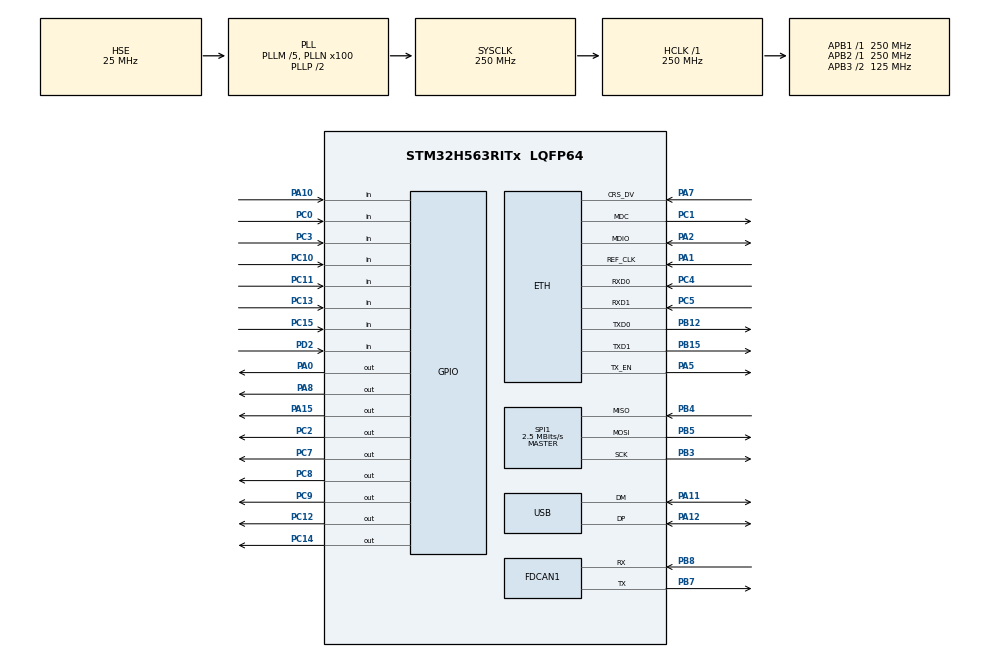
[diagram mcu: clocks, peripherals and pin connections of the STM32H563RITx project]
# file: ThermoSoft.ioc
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BOOTPATH.BootPathName=LEGACY
BOOTPATH.UserSelectedBootPath=LEGACY
CORTEX_M33_NS.userName=CORTEX_M33
ETH.MediaInterface=HAL_ETH_RMII_MODE
FDCAN1.CalculateBaudRateNominal=1666666
FDCAN1.CalculateTimeBitNominal=600
FDCAN1.CalculateTimeQuantumNominal=200.0
Mcu.Family=STM32H5
Mcu.Name=STM32H563RITx
Mcu.Package=LQFP64
NVIC.PriorityGroup=NVIC_PRIORITYGROUP_4
PA0.Signal=GPIO_Output
PA1.Mode=RMII
PA1.Signal=ETH_REF_CLK
PA10.Signal=GPIO_Input
PA11.Mode=Device
PA11.Signal=USB_DM
PA12.Mode=Device
PA12.Signal=USB_DP
PA13(JTMS/SWDIO).Mode=Serial_Wire
PA13(JTMS/SWDIO).Signal=DEBUG_JTMS-SWDIO
PA14(JTCK/SWCLK).Mode=Serial_Wire
PA14(JTCK/SWCLK).Signal=DEBUG_JTCK-SWCLK
PA15(JTDI).Signal=GPIO_Output
PA2.Mode=RMII
PA2.Signal=ETH_MDIO
PA5.Mode=RMII
PA5.Signal=ETH_TX_EN
PA7.Mode=RMII
PA7.Signal=ETH_CRS_DV
PA8.Signal=GPIO_Output
PB12.Mode=RMII
PB12.Signal=ETH_TXD0
PB15.Mode=RMII
PB15.Signal=ETH_TXD1
PB3(JTDO/TRACESWO).Mode=Full_Duplex_Master
PB3(JTDO/TRACESWO).Signal=SPI1_SCK
PB4(NJTRST).Mode=Full_Duplex_Master
PB4(NJTRST).Signal=SPI1_MISO
PB5.Mode=Full_Duplex_Master
PB5.Signal=SPI1_MOSI
PB7.Mode=FDCAN_Activate
PB7.Signal=FDCAN1_TX
PB8.Mode=FDCAN_Activate
PB8.Signal=FDCAN1_RX
PC0.Signal=GPIO_Input
PC1.Mode=RMII
PC1.Signal=ETH_MDC
PC10.Signal=GPIO_Input
PC11.Signal=GPIO_Input
PC12.Signal=GPIO_Output
PC13.Signal=GPIO_Input
PC14-OSC32_IN(OSC32_IN).Signal=GPIO_Output
PC15-OSC32_OUT(OSC32_OUT).Signal=GPIO_Input
PC2.Signal=GPIO_Output
PC3.Signal=GPIO_Input
PC4.Mode=RMII
PC4.Signal=ETH_RXD0
PC5.Mode=RMII
PC5.Signal=ETH_RXD1
PC7.Signal=GPIO_Output
PC8.Signal=GPIO_Output
PC9.Signal=GPIO_Output
PD2.Signal=GPIO_Input
PH0-OSC_IN(PH0).Mode=HSE-External-Oscillator
PH0-OSC_IN(PH0).Signal=RCC_OSC_IN
PH1-OSC_OUT(PH1).Mode=HSE-External-Oscillator
PH1-OSC_OUT(PH1).Signal=RCC_OSC_OUT
ProjectManager.HeapSize=0x200
ProjectManager.StackSize=0x400
ProjectManager.TargetToolchain=CMake
RCC.ADCFreq_Value=250000000
RCC.AHBFreq_Value=250000000
RCC.APB1Freq_Value=250000000
RCC.APB1TimFreq_Value=250000000
RCC.APB2Freq_Value=250000000
RCC.APB2TimFreq_Value=250000000
RCC.APB3CLKDivider=RCC_HCLK_DIV2
RCC.APB3Freq_Value=125000000
RCC.CSI_VALUE=4000000
RCC.CortexFreq_Value=250000000
RCC.EPOD_VALUE=25000000
RCC.FDCANClockSelection=RCC_FDCANCLKSOURCE_PLL2Q
RCC.HCLKFreq_Value=250000000
RCC.HSE_VALUE=25000000
RCC.HSI48_VALUE=48000000
RCC.HSI_VALUE=64000000
RCC.LSE_VALUE=32768
RCC.LSIRC_VALUE=32000
RCC.PLL1Q=10
RCC.PLL2FRACN=0
RCC.PLL2M=5
RCC.PLL2N=80
RCC.PLL2P=80
RCC.PLL2Q=5
RCC.PLL2Source=RCC_PLL2_SOURCE_HSE
RCC.PLL3FRACN=0
RCC.PLL3M=5
RCC.PLL3N=48
RCC.PLL3P=5
RCC.PLL3Q=5
RCC.PLL3Source=RCC_PLL3_SOURCE_HSE
RCC.PLLFRACN=0
RCC.PLLM=5
RCC.PLLN=100
RCC.PLLSourceVirtual=RCC_PLL1_SOURCE_HSE
RCC.SPI1CLockSelection=RCC_SPI1CLKSOURCE_PLL2P
RCC.SYSCLKFreq_VALUE=250000000
RCC.SYSCLKSource=RCC_SYSCLKSOURCE_PLLCLK
RCC.USBCLockSelection=RCC_USBCLKSOURCE_PLL3Q
RCC.USBFreq_Value=48000000
RCC.VCOOutputFreq_Value=500000000
SPI1.BaudRatePrescaler=SPI_BAUDRATEPRESCALER_2
SPI1.CalculateBaudRate=2.5 MBits/s
SPI1.Direction=SPI_DIRECTION_2LINES
SPI1.Mode=SPI_MODE_MASTER
SPI1.VirtualType=VM_MASTER
USB.VirtualMode=Device_Only
VP_BOOTPATH_VS_BOOTPATH.Mode=BP_Activate
VP_CORTEX_M33_NS_VS_Hclk.Mode=Hclk_Mode
VP_DCACHE1_VS_DCACHE.Mode=DCACHE_Activate
VP_FMAC_VS_FMAC.Mode=FMAC_Activate
VP_ICACHE_VS_ICACHE.Mode=DirectMappedCache
VP_MEMORYMAP_VS_MEMORYMAP.Mode=CurAppReg
VP_PWR_VS_LPOM.Mode=PowerOptimisation
VP_PWR_VS_SECSignals.Mode=Security/Privilege
board=custom

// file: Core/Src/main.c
/* USER CODE BEGIN Header */
/**
 ******************************************************************************
 * @file           : main.c
 * @brief          : Main program body
 ******************************************************************************
 * @attention
 *
 * Copyright (c) 2025 STMicroelectronics.
 * All rights reserved.
 *
 * This software is licensed under terms that can be found in the LICENSE file
 * in the root directory of this software component.
 * If no LICENSE file comes with this software, it is provided AS-IS.
 *
 ******************************************************************************
 */
/* USER CODE END Header */
#include "main.h"
#include "stm32h5xx_hal.h"
#include "string.h"

/* USER CODE BEGIN Includes */
#include "ethernetif.h"
#include "lwip.h"
#include "lwip/init.h"
#include "lwip/netif.h"
#include "lwip/opt.h"
#include "lwip/timeouts.h"
#include "lwip/udp.h"
#include "max31856.h"
#include "netif/etharp.h"

#if LWIP_DHCP
#include "lwip/dhcp.h"
#endif
/* USER CODE END Includes */

ETH_TxPacketConfigTypeDef TxConfig;
ETH_DMADescTypeDef DMARxDscrTab[ETH_RX_DESC_CNT]; /* Ethernet Rx DMA Descriptors */
ETH_DMADescTypeDef DMATxDscrTab[ETH_TX_DESC_CNT]; /* Ethernet Tx DMA Descriptors */

DCACHE_HandleTypeDef hdcache1;

ETH_HandleTypeDef heth;

FDCAN_HandleTypeDef hfdcan1;

FMAC_HandleTypeDef hfmac;

SPI_HandleTypeDef hspi1;

PCD_HandleTypeDef hpcd_USB_DRD_FS;

/* USER CODE BEGIN PV */
extern struct netif gnetif;

// MAX31856 sensor instances
max31856_t therm1, therm2, therm3, therm4;
struct udp_pcb *udp_tx_pcb;
sensor_data_packet_t sensor_packet;
uint8_t batch_index = 0; // Current index in the batch (0 to BATCH_SIZE-1)

/* USER CODE END PV */

void SystemClock_Config(void);
void PeriphCommonClock_Config(void);
static void MX_GPIO_Init(void);
static void MX_FDCAN1_Init(void);
static void MX_USB_PCD_Init(void);
static void MX_SPI1_Init(void);
static void MX_ICACHE_Init(void);
static void MX_DCACHE1_Init(void);
static void MX_FMAC_Init(void);
/* USER CODE BEGIN PFP */
static void Netif_Config(void);
/* USER CODE END PFP */

/* USER CODE BEGIN 0 */

static void Init_MAX31856_Sensors(void)
{
  // Initialize Sensor 1
  therm1.spi_handle = &hspi1;
  therm1.cs_pin.gpio_port = CS1_Port;
  therm1.cs_pin.gpio_pin = CS1_Pin;
  therm1.fault_pin.gpio_port = NFAULT1_Port;
  therm1.fault_pin.gpio_pin = NFAULT1_Pin;
  therm1.drdy_pin.gpio_port = NDRDY1_Port;
  therm1.drdy_pin.gpio_pin = NDRDY1_Pin;
  max31856_init(&therm1);
  max31856_set_noise_filter(&therm1, MAX31856_NOISE_FILTER);
  max31856_set_cold_junction_enable(&therm1, MAX31856_CJ_ENABLE);
  max31856_set_thermocouple_type(&therm1, MAX31856_TC_TYPE);
  max31856_set_average_samples(&therm1, MAX31856_AVG_SAMPLES);
  max31856_set_open_circuit_fault_detection(&therm1, MAX31856_OC_FAULT_DETECT);
  max31856_set_conversion_mode(&therm1, MAX31856_CONVERSION_MODE);

  // Initialize Sensor 2
  therm2.spi_handle = &hspi1;
  therm2.cs_pin.gpio_port = CS2_Port;
  therm2.cs_pin.gpio_pin = CS2_Pin;
  therm2.fault_pin.gpio_port = NFAULT2_Port;
  therm2.fault_pin.gpio_pin = NFAULT2_Pin;
  therm2.drdy_pin.gpio_port = NDRDY2_Port;
  therm2.drdy_pin.gpio_pin = NDRDY2_Pin;
  max31856_init(&therm2);
  max31856_set_noise_filter(&therm2, MAX31856_NOISE_FILTER);
  max31856_set_cold_junction_enable(&therm2, MAX31856_CJ_ENABLE);
  max31856_set_thermocouple_type(&therm2, MAX31856_TC_TYPE);
  max31856_set_average_samples(&therm2, MAX31856_AVG_SAMPLES);
  max31856_set_open_circuit_fault_detection(&therm2, MAX31856_OC_FAULT_DETECT);
  max31856_set_conversion_mode(&therm2, MAX31856_CONVERSION_MODE);

  // Initialize Sensor 3
  therm3.spi_handle = &hspi1;
  therm3.cs_pin.gpio_port = CS3_Port;
  therm3.cs_pin.gpio_pin = CS3_Pin;
  therm3.fault_pin.gpio_port = NFAULT3_Port;
  therm3.fault_pin.gpio_pin = NFAULT3_Pin;
  therm3.drdy_pin.gpio_port = NDRDY3_Port;
  therm3.drdy_pin.gpio_pin = NDRDY3_Pin;
  max31856_init(&therm3);
  max31856_set_noise_filter(&therm3, MAX31856_NOISE_FILTER);
  max31856_set_cold_junction_enable(&therm3, MAX31856_CJ_ENABLE);
  max31856_set_thermocouple_type(&therm3, MAX31856_TC_TYPE);
  max31856_set_average_samples(&therm3, MAX31856_AVG_SAMPLES);
  max31856_set_open_circuit_fault_detection(&therm3, MAX31856_OC_FAULT_DETECT);
  max31856_set_conversion_mode(&therm3, MAX31856_CONVERSION_MODE);

  // Initialize Sensor 4
  therm4.spi_handle = &hspi1;
  therm4.cs_pin.gpio_port = CS4_Port;
  therm4.cs_pin.gpio_pin = CS4_Pin;
  therm4.fault_pin.gpio_port = NFAULT4_Port;
  therm4.fault_pin.gpio_pin = NFAULT4_Pin;
  therm4.drdy_pin.gpio_port = NDRDY4_Port;
  therm4.drdy_pin.gpio_pin = NDRDY4_Pin;
  max31856_init(&therm4);
  max31856_set_noise_filter(&therm4, MAX31856_NOISE_FILTER);
  max31856_set_cold_junction_enable(&therm4, MAX31856_CJ_ENABLE);
  max31856_set_thermocouple_type(&therm4, MAX31856_TC_TYPE);
  max31856_set_average_samples(&therm4, MAX31856_AVG_SAMPLES);
  max31856_set_open_circuit_fault_detection(&therm4, MAX31856_OC_FAULT_DETECT);
  max31856_set_conversion_mode(&therm4, MAX31856_CONVERSION_MODE);
}

static void Init_UDP_Socket(void)
{
  ip_addr_t dest_addr;

  // Create new UDP PCB
  udp_tx_pcb = udp_new();
  if (udp_tx_pcb == NULL) {
    // Handle error
    return;
  }

  // Bind to any local address and port
  err_t err = udp_bind(udp_tx_pcb, IP_ADDR_ANY, 0);
  if (err != ERR_OK) {
    udp_remove(udp_tx_pcb);
    return;
  }

  // Set destination address and port
  IP4_ADDR(&dest_addr, UDP_DEST_IP_ADDR0, UDP_DEST_IP_ADDR1, UDP_DEST_IP_ADDR2, UDP_DEST_IP_ADDR3);
  err = udp_connect(udp_tx_pcb, &dest_addr, UDP_DEST_PORT);
  if (err != ERR_OK) {
    udp_remove(udp_tx_pcb);
    return;
  }
}

static void Read_MAX31856_Sensor(max31856_t *sensor, int32_t *temp_value)
{
  // Check if data is ready (DRDY pin is active low)
  if (HAL_GPIO_ReadPin(sensor->drdy_pin.gpio_port, sensor->drdy_pin.gpio_pin) != GPIO_PIN_RESET) {
    // Data not ready - return previous value or 0.0
    *temp_value = 0;
    return;
  }

  // Check for faults
  max31856_read_fault(sensor);

  if (sensor->sr.val != 0) {
    // Fault detected - send 0.0
    *temp_value = 0.0f;

    // Clear fault for next reading
    max31856_clear_fault_status(sensor);
    return;
  }

  // No fault - read thermocouple temperature
  *temp_value = max31856_read_TC_temp(sensor);
}

static void Send_Sensor_Data_UDP(void)
{
  struct pbuf *p;

  // Turn on LED to indicate data send
  HAL_GPIO_WritePin(DATA_SEND_GPIO_Port, DATA_SEND_GPIO_Pin, GPIO_PIN_SET);

  // Set packet tag and timestamp
  sensor_packet.packetTag = PACKET_ID;
  sensor_packet.packetTime = HAL_GetTick();

  // Allocate pbuf for data
  p = pbuf_alloc(PBUF_TRANSPORT, sizeof(sensor_data_packet_t), PBUF_RAM);
  if (p == NULL) {
    HAL_GPIO_WritePin(DATA_SEND_GPIO_Port, DATA_SEND_GPIO_Pin, GPIO_PIN_RESET);
    return;
  }

  // Copy data to pbuf
  memcpy(p->payload, &sensor_packet, sizeof(sensor_data_packet_t));

  // Send the data
  err_t err = udp_send(udp_tx_pcb, p);

  // Free the pbuf
  pbuf_free(p);

  if (err != ERR_OK) {
    // Handle send error - turn on fail LED
    HAL_GPIO_WritePin(DATA_FAIL_GPIO_Port, DATA_FAIL_GPIO_Pin, GPIO_PIN_SET);
  } else {
    // Success - turn off fail LED
    HAL_GPIO_WritePin(DATA_FAIL_GPIO_Port, DATA_FAIL_GPIO_Pin, GPIO_PIN_RESET);
  }

  // Turn off LED after send
  HAL_GPIO_WritePin(DATA_SEND_GPIO_Port, DATA_SEND_GPIO_Pin, GPIO_PIN_RESET);

  // Reset batch index for next packet
  batch_index = 0;
}

/* USER CODE END 0 */

int main(void)
{

  /* MCU Configuration--------------------------------------------------------*/

  /* Reset of all peripherals, Initializes the Flash interface and the Systick. */
  HAL_Init();

  /* Configure the system clock */
  SystemClock_Config();

  /* Configure the peripherals common clocks */
  PeriphCommonClock_Config();

  /* Initialize all configured peripherals */
  MX_GPIO_Init();
  MX_FDCAN1_Init();
  MX_USB_PCD_Init();
  MX_SPI1_Init();
  MX_ICACHE_Init();
  MX_DCACHE1_Init();
  MX_FMAC_Init();
  /* USER CODE BEGIN 2 */

  // Reset PHY (nRST) - MUST be done BEFORE lwip_init
  // LAN8742 nRST is active LOW
  HAL_GPIO_WritePin(ETH_PHY_RESET_Port, ETH_PHY_RESET_Pin, GPIO_PIN_RESET); // Assert reset (LOW)
  HAL_Delay(100);  // Hold reset for 100ms
  HAL_GPIO_WritePin(ETH_PHY_RESET_Port, ETH_PHY_RESET_Pin, GPIO_PIN_SET);   // Release reset (HIGH)
  HAL_Delay(100);  // Wait for PHY to stabilize

  lwip_init();
  Netif_Config();
  // Initialize MAX31856 sensors
  Init_MAX31856_Sensors();

  ethernetif_input(&gnetif);
  sys_check_timeouts();

  // Initialize UDP socket
  Init_UDP_Socket();

  uint32_t last_send_time = HAL_GetTick();

  /* USER CODE END 2 */

  /* Infinite loop */
  /* USER CODE BEGIN WHILE */
  while (1) {
    /* Read a received packet from the Ethernet buffers and send it
      to the lwIP for handling */
    ethernetif_input(&gnetif);
    /* Handle timeouts */
    sys_check_timeouts();
#if LWIP_NETIF_LINK_CALLBACK
    Ethernet_Link_Periodic_Handle(&gnetif);
#endif
#if LWIP_DHCP
    DHCP_Periodic_Handle(&gnetif);
#endif

    // Collect sensor readings at configured interval
    if ((HAL_GetTick() - last_send_time) >= UDP_SEND_INTERVAL_MS) {
      if (netif_is_up(&gnetif)) {
        // Read all sensors and store in current batch position
        // Use temporary variables to avoid taking address of packed members
        int32_t temp1, temp2, temp3, temp4;
        Read_MAX31856_Sensor(&therm1, &temp1);
        Read_MAX31856_Sensor(&therm2, &temp2);
        Read_MAX31856_Sensor(&therm3, &temp3);
        Read_MAX31856_Sensor(&therm4, &temp4);

        sensor_packet.tc1_temps[batch_index] = temp1;
        sensor_packet.tc2_temps[batch_index] = temp2;
        sensor_packet.tc3_temps[batch_index] = temp3;
        sensor_packet.tc4_temps[batch_index] = temp4;

        batch_index++;

        // When batch is full, send the packet
        if (batch_index >= BATCH_SIZE) {
          Send_Sensor_Data_UDP();
        }
      }
      last_send_time = HAL_GetTick();
    }

    /* USER CODE END WHILE */

  }
}

void SystemClock_Config(void)
{
  RCC_OscInitTypeDef RCC_OscInitStruct = {0};
  RCC_ClkInitTypeDef RCC_ClkInitStruct = {0};

  /** Configure the main internal regulator output voltage
   */
  __HAL_PWR_VOLTAGESCALING_CONFIG(PWR_REGULATOR_VOLTAGE_SCALE0);

  while (!__HAL_PWR_GET_FLAG(PWR_FLAG_VOSRDY)) {
  }

  /** Initializes the RCC Oscillators according to the specified parameters
   * in the RCC_OscInitTypeDef structure.
   */
  RCC_OscInitStruct.OscillatorType = RCC_OSCILLATORTYPE_HSE;
  RCC_OscInitStruct.HSEState = RCC_HSE_ON;
  RCC_OscInitStruct.PLL.PLLState = RCC_PLL_ON;
  RCC_OscInitStruct.PLL.PLLSource = RCC_PLL1_SOURCE_HSE;
  RCC_OscInitStruct.PLL.PLLM = 5;
  RCC_OscInitStruct.PLL.PLLN = 100;
  RCC_OscInitStruct.PLL.PLLP = 2;
  RCC_OscInitStruct.PLL.PLLQ = 10;
  RCC_OscInitStruct.PLL.PLLR = 2;
  RCC_OscInitStruct.PLL.PLLRGE = RCC_PLL1_VCIRANGE_2;
  RCC_OscInitStruct.PLL.PLLVCOSEL = RCC_PLL1_VCORANGE_WIDE;
  RCC_OscInitStruct.PLL.PLLFRACN = 0;
  if (HAL_RCC_OscConfig(&RCC_OscInitStruct) != HAL_OK) {
    Error_Handler();
  }

  /** Initializes the CPU, AHB and APB buses clocks
   */
  RCC_ClkInitStruct.ClockType = RCC_CLOCKTYPE_HCLK | RCC_CLOCKTYPE_SYSCLK | RCC_CLOCKTYPE_PCLK1 |
                                RCC_CLOCKTYPE_PCLK2 | RCC_CLOCKTYPE_PCLK3;
  RCC_ClkInitStruct.SYSCLKSource = RCC_SYSCLKSOURCE_PLLCLK;
  RCC_ClkInitStruct.AHBCLKDivider = RCC_SYSCLK_DIV1;
  RCC_ClkInitStruct.APB1CLKDivider = RCC_HCLK_DIV1;
  RCC_ClkInitStruct.APB2CLKDivider = RCC_HCLK_DIV1;
  RCC_ClkInitStruct.APB3CLKDivider = RCC_HCLK_DIV2;

  if (HAL_RCC_ClockConfig(&RCC_ClkInitStruct, FLASH_LATENCY_5) != HAL_OK) {
    Error_Handler();
  }

  /** Configure the programming delay
   */
  __HAL_FLASH_SET_PROGRAM_DELAY(FLASH_PROGRAMMING_DELAY_2);
}

void PeriphCommonClock_Config(void)
{
  RCC_PeriphCLKInitTypeDef PeriphClkInitStruct = {0};

  /** Initializes the peripherals clock
   */
  PeriphClkInitStruct.PeriphClockSelection = RCC_PERIPHCLK_FDCAN | RCC_PERIPHCLK_SPI1;
  PeriphClkInitStruct.PLL2.PLL2Source = RCC_PLL2_SOURCE_HSE;
  PeriphClkInitStruct.PLL2.PLL2M = 5;
  PeriphClkInitStruct.PLL2.PLL2N = 80;
  PeriphClkInitStruct.PLL2.PLL2P = 80;
  PeriphClkInitStruct.PLL2.PLL2Q = 5;
  PeriphClkInitStruct.PLL2.PLL2R = 2;
  PeriphClkInitStruct.PLL2.PLL2RGE = RCC_PLL2_VCIRANGE_2;
  PeriphClkInitStruct.PLL2.PLL2VCOSEL = RCC_PLL2_VCORANGE_WIDE;
  PeriphClkInitStruct.PLL2.PLL2FRACN = 0;
  PeriphClkInitStruct.PLL2.PLL2ClockOut = RCC_PLL2_DIVP | RCC_PLL2_DIVQ;
  PeriphClkInitStruct.FdcanClockSelection = RCC_FDCANCLKSOURCE_PLL2Q;
  PeriphClkInitStruct.Spi1ClockSelection = RCC_SPI1CLKSOURCE_PLL2P;
  if (HAL_RCCEx_PeriphCLKConfig(&PeriphClkInitStruct) != HAL_OK) {
    Error_Handler();
  }
}

static void MX_DCACHE1_Init(void)
{

  hdcache1.Instance = DCACHE1;
  hdcache1.Init.ReadBurstType = DCACHE_READ_BURST_WRAP;
  if (HAL_DCACHE_Init(&hdcache1) != HAL_OK) {
    Error_Handler();
  }
}

void MX_ETH_Init(void)
{

  static uint8_t MACAddr[6];

  heth.Instance = ETH;
  MACAddr[0] = MAC_ADDR0;
  MACAddr[1] = MAC_ADDR1;
  MACAddr[2] = MAC_ADDR2;
  MACAddr[3] = MAC_ADDR3;
  MACAddr[4] = MAC_ADDR4;
  MACAddr[5] = MAC_ADDR5;
  heth.Init.MACAddr = &MACAddr[0];
  heth.Init.MediaInterface = HAL_ETH_RMII_MODE;
  heth.Init.TxDesc = DMATxDscrTab;
  heth.Init.RxDesc = DMARxDscrTab;
  heth.Init.RxBuffLen = 1524;

  if (HAL_ETH_Init(&heth) != HAL_OK) {
    Error_Handler();
  }

  memset(&TxConfig, 0, sizeof(ETH_TxPacketConfigTypeDef));
  TxConfig.Attributes = ETH_TX_PACKETS_FEATURES_CSUM | ETH_TX_PACKETS_FEATURES_CRCPAD;
  TxConfig.ChecksumCtrl = ETH_CHECKSUM_IPHDR_PAYLOAD_INSERT_PHDR_CALC;
  TxConfig.CRCPadCtrl = ETH_CRC_PAD_INSERT;
}

static void MX_FDCAN1_Init(void)
{

  hfdcan1.Instance = FDCAN1;
  hfdcan1.Init.ClockDivider = FDCAN_CLOCK_DIV1;
  hfdcan1.Init.FrameFormat = FDCAN_FRAME_CLASSIC;
  hfdcan1.Init.Mode = FDCAN_MODE_NORMAL;
  hfdcan1.Init.AutoRetransmission = DISABLE;
  hfdcan1.Init.TransmitPause = DISABLE;
  hfdcan1.Init.ProtocolException = DISABLE;
  hfdcan1.Init.NominalPrescaler = 16;
  hfdcan1.Init.NominalSyncJumpWidth = 1;
  hfdcan1.Init.NominalTimeSeg1 = 1;
  hfdcan1.Init.NominalTimeSeg2 = 1;
  hfdcan1.Init.DataPrescaler = 1;
  hfdcan1.Init.DataSyncJumpWidth = 1;
  hfdcan1.Init.DataTimeSeg1 = 1;
  hfdcan1.Init.DataTimeSeg2 = 1;
  hfdcan1.Init.StdFiltersNbr = 0;
  hfdcan1.Init.ExtFiltersNbr = 0;
  hfdcan1.Init.TxFifoQueueMode = FDCAN_TX_FIFO_OPERATION;
  if (HAL_FDCAN_Init(&hfdcan1) != HAL_OK) {
    Error_Handler();
  }
}

static void MX_FMAC_Init(void)
{

  hfmac.Instance = FMAC;
  if (HAL_FMAC_Init(&hfmac) != HAL_OK) {
    Error_Handler();
  }
}

static void MX_ICACHE_Init(void)
{

  /** Enable instruction cache in 1-way (direct mapped cache)
   */
  if (HAL_ICACHE_ConfigAssociativityMode(ICACHE_1WAY) != HAL_OK) {
    Error_Handler();
  }
  if (HAL_ICACHE_Enable() != HAL_OK) {
    Error_Handler();
  }
}

static void MX_SPI1_Init(void)
{

  /* SPI1 parameter configuration*/
  hspi1.Instance = SPI1;
  hspi1.Init.Mode = SPI_MODE_MASTER;
  hspi1.Init.Direction = SPI_DIRECTION_2LINES;
  hspi1.Init.DataSize = SPI_DATASIZE_8BIT;
  hspi1.Init.CLKPolarity = SPI_POLARITY_LOW;
  hspi1.Init.CLKPhase = SPI_PHASE_2EDGE;
  hspi1.Init.NSS = SPI_NSS_SOFT;
  hspi1.Init.BaudRatePrescaler = SPI_BAUDRATEPRESCALER_2;
  hspi1.Init.FirstBit = SPI_FIRSTBIT_MSB;
  hspi1.Init.TIMode = SPI_TIMODE_DISABLE;
  hspi1.Init.CRCCalculation = SPI_CRCCALCULATION_DISABLE;
  hspi1.Init.CRCPolynomial = 0x7;
  hspi1.Init.NSSPMode = SPI_NSS_PULSE_DISABLE;
  hspi1.Init.NSSPolarity = SPI_NSS_POLARITY_LOW;
  hspi1.Init.FifoThreshold = SPI_FIFO_THRESHOLD_01DATA;
  hspi1.Init.MasterSSIdleness = SPI_MASTER_SS_IDLENESS_00CYCLE;
  hspi1.Init.MasterInterDataIdleness = SPI_MASTER_INTERDATA_IDLENESS_00CYCLE;
  hspi1.Init.MasterReceiverAutoSusp = SPI_MASTER_RX_AUTOSUSP_DISABLE;
  hspi1.Init.MasterKeepIOState = SPI_MASTER_KEEP_IO_STATE_DISABLE;
  hspi1.Init.IOSwap = SPI_IO_SWAP_DISABLE;
  hspi1.Init.ReadyMasterManagement = SPI_RDY_MASTER_MANAGEMENT_INTERNALLY;
  hspi1.Init.ReadyPolarity = SPI_RDY_POLARITY_HIGH;
  if (HAL_SPI_Init(&hspi1) != HAL_OK) {
    Error_Handler();
  }
}

static void MX_USB_PCD_Init(void)
{

  hpcd_USB_DRD_FS.Instance = USB_DRD_FS;
  hpcd_USB_DRD_FS.Init.dev_endpoints = 8;
  hpcd_USB_DRD_FS.Init.speed = USBD_FS_SPEED;
  hpcd_USB_DRD_FS.Init.phy_itface = PCD_PHY_EMBEDDED;
  hpcd_USB_DRD_FS.Init.Sof_enable = DISABLE;
  hpcd_USB_DRD_FS.Init.low_power_enable = DISABLE;
  hpcd_USB_DRD_FS.Init.lpm_enable = DISABLE;
  hpcd_USB_DRD_FS.Init.battery_charging_enable = DISABLE;
  hpcd_USB_DRD_FS.Init.vbus_sensing_enable = DISABLE;
  hpcd_USB_DRD_FS.Init.bulk_doublebuffer_enable = DISABLE;
  hpcd_USB_DRD_FS.Init.iso_singlebuffer_enable = DISABLE;
  if (HAL_PCD_Init(&hpcd_USB_DRD_FS) != HAL_OK) {
    Error_Handler();
  }
}

static void MX_GPIO_Init(void)
{
  GPIO_InitTypeDef GPIO_InitStruct = {0};

  /* GPIO Ports Clock Enable */
  __HAL_RCC_GPIOC_CLK_ENABLE();
  __HAL_RCC_GPIOH_CLK_ENABLE();
  __HAL_RCC_GPIOA_CLK_ENABLE();
  __HAL_RCC_GPIOB_CLK_ENABLE();
  __HAL_RCC_GPIOD_CLK_ENABLE();

  /*Configure GPIO pin Output Level */
  HAL_GPIO_WritePin(GPIOC,
                    GPIO_PIN_14 | GPIO_PIN_2 | GPIO_PIN_7 | GPIO_PIN_8 | GPIO_PIN_9 | GPIO_PIN_12,
                    GPIO_PIN_RESET);

  /*Configure GPIO pin Output Level */
  HAL_GPIO_WritePin(GPIOA, GPIO_PIN_0 | GPIO_PIN_8 | GPIO_PIN_15, GPIO_PIN_RESET);

  /*Configure GPIO pins : PC13 PC15 PC0 PC3
                           PC10 PC11 */
  GPIO_InitStruct.Pin =
      GPIO_PIN_13 | GPIO_PIN_15 | GPIO_PIN_0 | GPIO_PIN_3 | GPIO_PIN_10 | GPIO_PIN_11;
  GPIO_InitStruct.Mode = GPIO_MODE_INPUT;
  GPIO_InitStruct.Pull = GPIO_NOPULL;
  HAL_GPIO_Init(GPIOC, &GPIO_InitStruct);

  /*Configure GPIO pins : PC14 PC2 PC7 PC8
                           PC9 PC12 */
  GPIO_InitStruct.Pin =
      GPIO_PIN_14 | GPIO_PIN_2 | GPIO_PIN_7 | GPIO_PIN_8 | GPIO_PIN_9 | GPIO_PIN_12;
  GPIO_InitStruct.Mode = GPIO_MODE_OUTPUT_PP;
  GPIO_InitStruct.Pull = GPIO_NOPULL;
  GPIO_InitStruct.Speed = GPIO_SPEED_FREQ_LOW;
  HAL_GPIO_Init(GPIOC, &GPIO_InitStruct);

  /*Configure GPIO pins : PA0 PA8 PA15 */
  GPIO_InitStruct.Pin = GPIO_PIN_0 | GPIO_PIN_8 | GPIO_PIN_15;
  GPIO_InitStruct.Mode = GPIO_MODE_OUTPUT_PP;
  GPIO_InitStruct.Pull = GPIO_NOPULL;
  GPIO_InitStruct.Speed = GPIO_SPEED_FREQ_LOW;
  HAL_GPIO_Init(GPIOA, &GPIO_InitStruct);

  /*Configure GPIO pin : PA10 */
  GPIO_InitStruct.Pin = GPIO_PIN_10;
  GPIO_InitStruct.Mode = GPIO_MODE_INPUT;
  GPIO_InitStruct.Pull = GPIO_NOPULL;
  HAL_GPIO_Init(GPIOA, &GPIO_InitStruct);

  /*Configure GPIO pin : PD2 */
  GPIO_InitStruct.Pin = GPIO_PIN_2;
  GPIO_InitStruct.Mode = GPIO_MODE_INPUT;
  GPIO_InitStruct.Pull = GPIO_NOPULL;
  HAL_GPIO_Init(GPIOD, &GPIO_InitStruct);

}

/* USER CODE BEGIN 4 */
/**
 * @brief  Setup the network interface
 *   None
 * @retval None
 */
static void Netif_Config(void)
{
  ip_addr_t ipaddr;
  ip_addr_t netmask;
  ip_addr_t gw;
#if LWIP_DHCP
  ip_addr_set_zero_ip4(&ipaddr);
  ip_addr_set_zero_ip4(&netmask);
  ip_addr_set_zero_ip4(&gw);
#else
  /* IP address default setting */
  IP4_ADDR(&ipaddr, IP_ADDR0, IP_ADDR1, IP_ADDR2, IP_ADDR3);
  IP4_ADDR(&netmask, NETMASK_ADDR0, NETMASK_ADDR1, NETMASK_ADDR2, NETMASK_ADDR3);
  IP4_ADDR(&gw, GW_ADDR0, GW_ADDR1, GW_ADDR2, GW_ADDR3);
#endif
  /* add the network interface */
  netif_add(&gnetif, &ipaddr, &netmask, &gw, NULL, &ethernetif_init, &ethernet_input);
  /*  Registers the default network interface */
  netif_set_default(&gnetif);
#if LWIP_NETIF_LINK_CALLBACK
  netif_set_link_callback(&gnetif, ethernet_link_status_updated);
#if LWIP_DHCP
  dhcp_start(&gnetif);
#endif
  ethernet_link_status_updated(&gnetif);
#endif
}
/* USER CODE END 4 */

void Error_Handler(void)
{
  __disable_irq();
  while (1) {
  }
}
